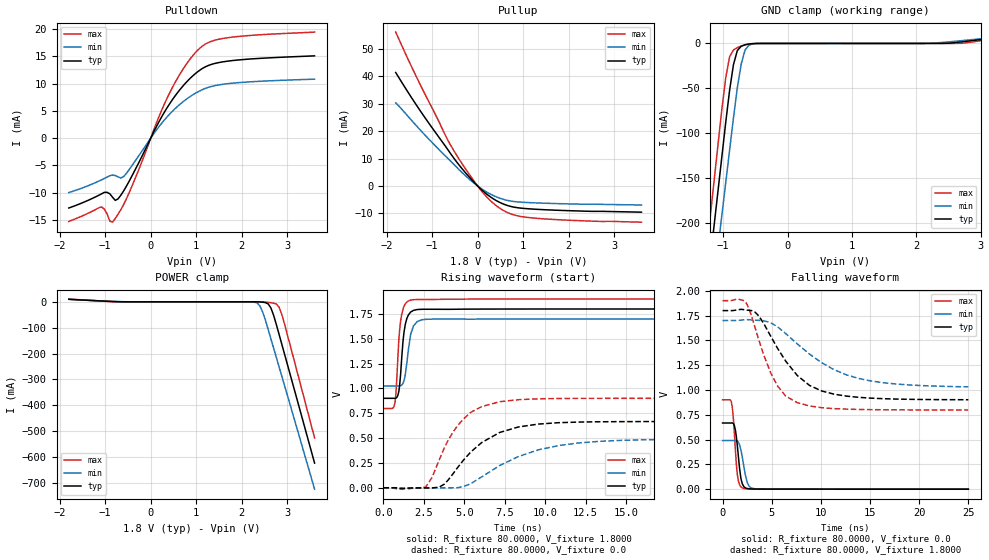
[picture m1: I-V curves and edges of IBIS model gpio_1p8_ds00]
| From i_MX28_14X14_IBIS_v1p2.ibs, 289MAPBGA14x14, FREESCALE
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|   Model gpio_1p8_ds00
| This model was characterised for following simulation conditions:
| Spice Models:
|  - Typ Condition
|   ..../Ringo/backup/r63536/IBIS/GPIO_IBIS/io_dig_gpio_bs_ir_1p8_4mA/typ.model
|  - Min Condition
|   ..../Ringo/backup/r63536/IBIS/GPIO_IBIS/io_dig_gpio_bs_ir_1p8_4mA/wcs.model
|  - Max Condition
|   ..../Ringo/backup/r63536/IBIS/GPIO_IBIS/io_dig_gpio_bs_ir_1p8_4mA/bcs.model
[Model]  gpio_1p8_ds00
Model_type I/O
Polarity   Non-Inverting
Enable   Active-Low
Vinl =   0.3600V
Vinh =   1.4400V
Vmeas =  0.9000V
Cref =   0.0F
Rref =   80.0000
Vref =   0.9000V
C_comp   2.0072pF   1.8447pF   2.1988pF
[Temperature Range]   25.0000   0.1050k   -40.0000
[Voltage Range]   1.8000V   1.7000V   1.9000V
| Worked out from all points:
|   slope of the pulldown table from 0 to 0.27 V, typ, clamps not added: 62.3 ohm
|   slope of the pullup table from 0 to 0.27 V, typ, clamps not added: 70.2 ohm
|   GND clamp passes 1 mA (typ) near -0.63 V on its own axis
|   POWER clamp passes 1 mA (typ) near -0.81 V on its own axis
|   rising waveform, R_fixture 80.0000, V_fixture 1.8000: 20-80 % time 297ps typ, 354ps min, 265ps max; typ from 0.901 V to 1.8 V
|   rising waveform, R_fixture 80.0000, V_fixture 0.0: 20-80 % time 2.67ns typ, 3.91ns min, 1.94ns max; typ from 0 V to 0.667 V
|   falling waveform, R_fixture 80.0000, V_fixture 0.0: 20-80 % time 439ps typ, 557ps min, 382ps max; typ from 0.667 V to 0 V
|   falling waveform, R_fixture 80.0000, V_fixture 1.8000: 20-80 % time 3.94ns typ, 5.84ns min, 2.62ns max; typ from 1.8 V to 0.902 V
[Pulldown]
|Voltage   I(typ)   I(min)   I(max)
-1.8V     -12.82mA   -9.999mA   -15.29mA
-1.08V    -10.22mA   -7.647mA   -12.63mA
-960mV    -9.943mA   -7.159mA   -13.87mA
-900mV    -10.22mA   -6.907mA   -15.22mA
-840mV    -10.84mA   -6.78mA    -15.43mA
-720mV    -11.16mA   -7.1mA     -13.99mA
-600mV    -9.747mA   -7.085mA   -12.26mA
420mV     6.362mA    4.443mA    8.375mA
780mV     10.24mA    7.126mA    13.54mA
1.14V     12.8mA     8.915mA    16.92mA
1.8V      14.23mA    10.09mA    18.54mA
3.6V      15.1mA     10.81mA    19.46mA
[Pullup]
|Voltage   I(typ)   I(min)   I(max)
-1.8V     41.4mA     30.31mA    56.13mA
-1.32V    28.89mA    21.5mA     38.97mA
-600mV    11.94mA    9.168mA    15.07mA
-300mV    5.466mA    4.224mA    7.075mA
0V        209.3fA    1.586pA    289.5fA
180mV     -2.717mA   -2.035mA   -3.639mA
420mV     -5.429mA   -4.043mA   -7.317mA
720mV     -7.437mA   -5.481mA   -10.14mA
900mV     -7.989mA   -5.842mA   -10.99mA
1.14V     -8.351mA   -6.076mA   -11.55mA
2.16V     -9.098mA   -6.599mA   -12.61mA
3.6V      -9.557mA   -6.942mA   -13.22mA
[GND_clamp]
|Voltage   I(typ)   I(min)   I(max)
-1.8V     -623.6mA   -663.4mA   -592.9mA
-1.26V    -278.7mA   -336mA     -232.4mA
-1.2V     -240.5mA   -299.8mA   -192.5mA
-1.14V    -202.3mA   -263.5mA   -152.5mA
-1.02V    -126mA     -191.2mA   -73.26mA
-900mV    -52.23mA   -118.9mA   -14.88mA
-840mV    -23.65mA   -82.88mA   -7.286mA
-780mV    -8.015mA   -49.5mA    -4.726mA
-660mV    -1.464mA   -7.459mA   -1.599mA
-540mV    -222.1uA   -464.6uA   -207.2uA
2.22V     3.773uA    177uA      3.508uA
3.6V      9.707mA    15.14mA    9.55mA
[POWER_clamp]
|Voltage   I(typ)   I(min)   I(max)
-1.8V     9.707mA    9.982mA    10.63mA
-780mV    753.5uA    1.571mA    75.84uA
2.16V     -4.982uA   -71.39uA   -3.24uA
2.34V     -222.1uA   -4.783mA   -14.67uA
2.4V      -643.4uA   -16.48mA   -74.35uA
2.46V     -1.464mA   -39.7mA    -323.9uA
2.58V     -8.015mA   -106.9mA   -1.997mA
2.64V     -23.65mA   -143mA     -3.463mA
2.76V     -87.95mA   -215.3mA   -8.711mA
2.82V     -126mA     -251.5mA   -20.79mA
2.94V     -202.3mA   -323.9mA   -86.11mA
3.6V      -623.6mA   -724.2mA   -526.1mA
[Ramp]
| variable   typ   min   max
dV/dt_r  0.4001/2.6661n   0.2939/3.8817n   0.5403/1.9329n
dV/dt_f  0.5391/3.9428n   0.4012/5.7999n   0.6609/2.5934n
R_load = 80.0000
[Rising Waveform]
R_fixture= 80.0000
V_fixture= 1.8000
V_fixture_min= 1.7000
V_fixture_max= 1.9000
|time   V(typ)   V(min)   V(max)
0s        900.6mV    1.025V     798.4mV
668.3ps   900.6mV    1.025V     825.7mV
760ps     902.6mV    1.025V     922.5mV
897.5ps   932.2mV    1.025V     1.324V
1.003ns   1.031V     1.025V     1.589V
1.131ns   1.305V     1.034V     1.746V
1.352ns   1.644V     1.137V     1.852V
1.683ns   1.769V     1.545V     1.89V
2.72ns    1.797V     1.697V     1.895V
25ns      1.8V       1.7V       1.9V
[Rising Waveform]
R_fixture= 80.0000
V_fixture= 0.0
V_fixture_min= 0.0
V_fixture_max= 0.0
|time   V(typ)   V(min)   V(max)
0s        6.555nV    33.78nV    8.359nV
2.616ns   -1.839mV   -1.02mV    7.679mV
3.004ns   -1.783mV   -1.037mV   103mV
3.757ns   35.17mV    -1.087mV   398.6mV
4.579ns   201.4mV    805.4uV    624.5mV
5.4ns     360mV      41.04mV    759.5mV
7.189ns   556.8mV    224mV      866.3mV
9.587ns   641.4mV    382.2mV    895.7mV
12.09ns   661.5mV    451.4mV    899.9mV
25ns      666.9mV    489.8mV    900.5mV
[Falling Waveform]
R_fixture= 80.0000
V_fixture= 0.0
V_fixture_min= 0.0
V_fixture_max= 0.0
|time   V(typ)   V(min)   V(max)
0s        666.9mV    490mV      900.5mV
886.3ps   667.1mV    490mV      880.2mV
1.035ns   666.2mV    490mV      784mV
1.205ns   639.5mV    490.1mV    558.8mV
1.502ns   438.8mV    485mV      148.2mV
1.73ns    208.4mV    445.9mV    43.92mV
2.006ns   54.36mV    324.2mV    12.3mV
2.51ns    6.41mV     66.26mV    2.747mV
3.308ns   1.41mV     3.456mV    1.033mV
25ns      1.98uV     17.23uV    299.9nV
[Falling Waveform]
R_fixture= 80.0000
V_fixture= 1.8000
V_fixture_min= 1.7000
V_fixture_max= 1.9000
|time   V(typ)   V(min)   V(max)
0s        1.8V       1.7V       1.9V
2.321ns   1.806V     1.708V     1.889V
2.729ns   1.803V     1.708V     1.807V
3.689ns   1.746V     1.702V     1.502V
4.892ns   1.543V     1.678V     1.174V
6.417ns   1.291V     1.569V     938.7mV
7.597ns   1.146V     1.464V     872mV
10.1ns    989.4mV    1.274V     820.9mV
13.85ns   925.6mV    1.116V     803.5mV
25ns      901.5mV    1.031V     798.5mV
